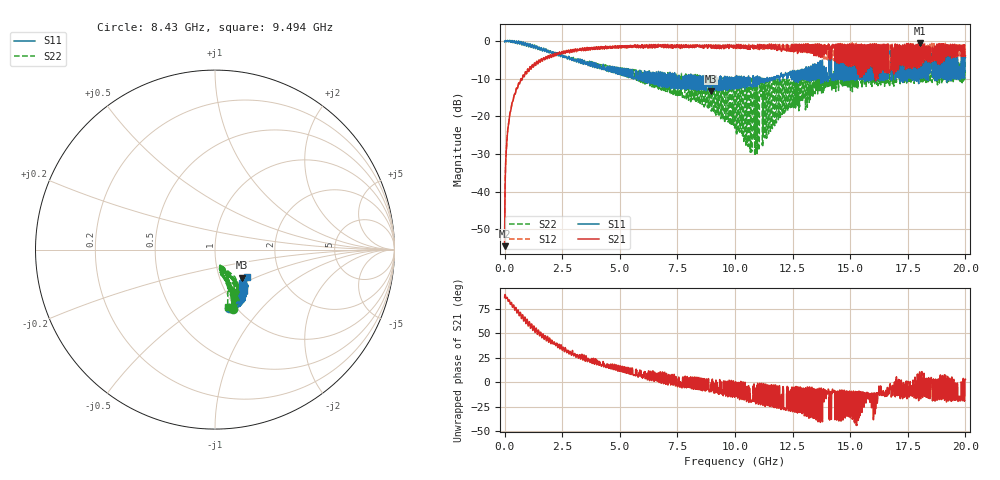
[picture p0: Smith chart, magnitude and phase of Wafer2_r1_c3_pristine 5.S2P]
!  2-Port S-parameters saved by WinCal
! VAR MeasName=S-Parameters (CALIBRATED_DATA) read from VNA (P5004A)
! VAR MeasDate=24/04/2024 15:26:49
! VAR NAME=Wafer2_r1_c3_pristine 5
! VAR FILENAME=Wafer2_r1_c3_pristine 5.S2P
! VAR DATE=24/04/2024 15:26:50
! VAR PHYS_PORTS=1,2
! VAR ObjTypeName=DATASET
! VAR IndexType=Frequency
# Hz S MA R 50
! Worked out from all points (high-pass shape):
!   4999 points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, 4.01 MHz to 20 GHz, reference 50 ohm
!   highest |S21| = -0.65 dB at 18.04 GHz (marker M1); lowest = -54.5 dB at 4.01 MHz (marker M2)
!   |S21| within 3 dB of the highest: 2.241 GHz to 13.43 GHz (11.19 GHz wide, 143 % of centre); 13.8 GHz to 14.09 GHz (283.9 MHz wide, 2.04 % of centre)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
!   lowest |S11| = -13.3 dB at 8.962 GHz (marker M3), VSWR 1.56, Z = 63.8 - j21 ohm
!   |S11| at or under -10 dB: 7.578 GHz to 7.721 GHz (143.2 MHz wide, 1.87 % of centre); 10.66 GHz to 10.78 GHz (115 MHz wide, 1.07 % of centre); 11.17 GHz to 11.31 GHz (139.2 MHz wide, 1.24 % of centre)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
!   |S22| runs from -30.5 to 0.1 dB; largest |S21 - S12| = 0.6
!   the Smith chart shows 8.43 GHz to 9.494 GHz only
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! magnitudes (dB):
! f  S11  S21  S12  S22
! 4.01 MHz  -0.1  -54.5  -54.4  -0.1
! 108 MHz  -0.1  -26.1  -26.0  -0.1
! 176 MHz  -0.2  -22.0  -22.0  -0.2
! 620.1 MHz  -0.1  -11.1  -11.1  -0.1
! 1.56 GHz  -2.3  -5.4  -5.4  -2.3
! 3.341 GHz  -5.5  -2.6  -2.5  -5.3
! 6.673 GHz  -8.1  -1.2  -0.9  -12.6
! 8.962 GHz  -13.3  -1.1  -1.1  -9.2
! 10 GHz  -9.9  -1.2  -1.2  -9.9
! 10.53 GHz  -9.9  -2.0  -1.4  -10.4
! 10.65 GHz  -12.0  -1.5  -1.4  -28.3
! 10.85 GHz  -11.7  -1.6  -1.9  -12.3
! 10.95 GHz  -11.8  -1.6  -1.4  -10.7
! 11.33 GHz  -10.2  -1.1  -1.2  -10.1
! 11.45 GHz  -10.7  -1.8  -1.7  -24.6
! 11.75 GHz  -10.3  -1.0  -1.0  -9.9
! 13.33 GHz  -10.2  -1.0  -1.0  -10.2
! 15.18 GHz  -3.8  -5.6  -0.8  -10.4
! 15.37 GHz  -2.4  -8.7  -8.8  -4.8
! 16.67 GHz  -3.0  -8.0  -6.9  -6.0
! 18.04 GHz  -9.8  -0.7  -0.6  -10.1
! 20 GHz  -4.4  -3.9  -4.1  -5.2
